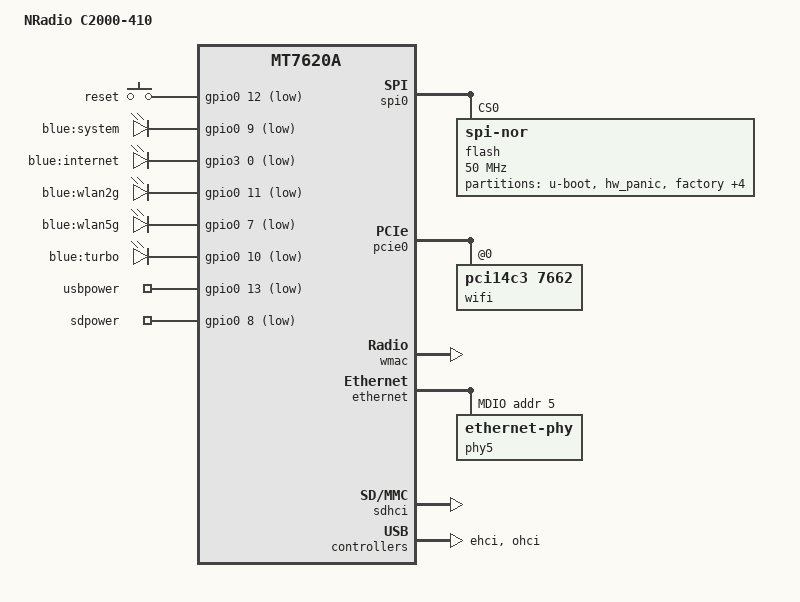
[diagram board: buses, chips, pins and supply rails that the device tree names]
#include "mt7620a.dtsi"

#include <dt-bindings/gpio/gpio.h>
#include <dt-bindings/input/input.h>

/ {
	compatible = "nradio,c2000", "ralink,mt7620a-soc";
	model = "NRadio C2000-410";

	chosen {
		bootargs = "console=ttyS0,115200";
	};

	keys {
		compatible = "gpio-keys";

		reset {
			label = "reset";
			gpios = <&gpio0 12 GPIO_ACTIVE_LOW>;
			linux,code = <KEY_RESTART>;
		};
	};

	aliases {
		led-boot = &led_system;
		led-failsafe = &led_system;
		led-running = &led_system;
		led-upgrade = &led_system;
	};
	
	leds {
		compatible = "gpio-leds";

		led_system: system {
			label = "blue:system";
			gpios = <&gpio0 9 GPIO_ACTIVE_LOW>;
		};

		internet {
			label = "blue:internet";
			gpios = <&gpio3 0 GPIO_ACTIVE_LOW>;
		};

		wlan2g {
			label = "blue:wlan2g";
			gpios = <&gpio0 11 GPIO_ACTIVE_LOW>;
			linux,default-trigger = "phy1tpt";
		};

		wlan5g {
			label = "blue:wlan5g";
			gpios = <&gpio0 7 GPIO_ACTIVE_LOW>;
			linux,default-trigger = "phy0tpt";
		};

		turbo {
			label = "blue:turbo";
			gpios = <&gpio0 10 GPIO_ACTIVE_LOW>;
		};
	};

	gpio_export {
	compatible = "gpio-export";
	#size-cells = <0>;

		usbpower {
			gpio-export,name = "usbpower";
			gpio-export,output = <0>;
			gpios = <&gpio0 13 GPIO_ACTIVE_LOW>;
		};

		sdpower {
			gpio-export,name = "sdpower";
			gpio-export,output = <0>;
			gpios = <&gpio0 8 GPIO_ACTIVE_LOW>;
		};
	};

};

&spi0 {
	status = "okay";

	flash@0 {
		compatible = "jedec,spi-nor";
		reg = <0>;
		spi-max-frequency = <50000000>;
		m25p,fast-read;

		partitions {
			compatible = "fixed-partitions";
			#address-cells = <1>;
			#size-cells = <1>;

			partition@0 {
				label = "u-boot";
				reg = <0x0 0x30000>;
				read-only;
			};

			partition@30000 {
				label = "hw_panic";
				reg = <0x30000 0x10000>;
				read-only;
			};

			partition@40000 {
				label = "factory";
				reg = <0x40000 0x10000>;
				read-only;

				nvmem-layout {
					compatible = "fixed-layout";
					#address-cells = <1>;
					#size-cells = <1>;

					eeprom_factory_0: eeprom@0 {
						reg = <0x0 0x200>;
					};

					eeprom_factory_8000: eeprom@8000 {
						reg = <0x8000 0x200>;
					};

					macaddr_factory_4: macaddr@4 {
						reg = <0x4 0x6>;
					};
				};
			};

			partition@50000 {
				compatible = "denx,uimage";
				label = "firmware";
				reg = <0x50000 0xf70000>;
			};

			partition@fc0000 {
				label = "oem";
				reg = <0xfc0000 0x20000>;
				read-only;
			};

			partition@fe0000 {
				label = "bdinfo";
				reg = <0xfe0000 0x10000>;
				read-only;
			};

			partition@ff0000 {
				label = "backup";
				reg = <0xff0000 0x10000>;
				read-only;
			};
		};
	};
};

&pcie0 {
	wifi@0,0 {
		compatible = "pci14c3,7662";
		reg = <0x0000 0 0 0 0>;
		nvmem-cells = <&eeprom_factory_8000>;
		nvmem-cell-names = "eeprom";
		ieee80211-freq-limit = <5000000 6000000>;
	};
};

&wmac {
	nvmem-cells = <&eeprom_factory_0>;
	nvmem-cell-names = "eeprom";
	pinctrl-names = "default", "pa_gpio";
	pinctrl-0 = <&pa_pins>;
	pinctrl-1 = <&pa_gpio_pins>;
};

&ethernet {
	nvmem-cells = <&macaddr_factory_4>;
	nvmem-cell-names = "mac-address";

	pinctrl-names = "default";
	pinctrl-0 = <&mdio_pins>, <&rgmii1_pins>;

	mediatek,portmap = "llllw";

	port@5 {
		status = "okay";
		phy-handle = <&phy5>;
		phy-mode = "rgmii";
	};

	mdio-bus {
		status = "okay";

		phy5: ethernet-phy@5 {
			reg = <5>;
			phy-mode = "rgmii";
		};
	};
};

&state_default {
	gpio {
		groups = "uartf", "wled";
		function = "gpio";
	};
};

&sdhci {
	status = "okay";
};

&gpio3 {
	status = "okay";
};

&ehci {
	status = "okay";
};

&ohci {
	status = "okay";
};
